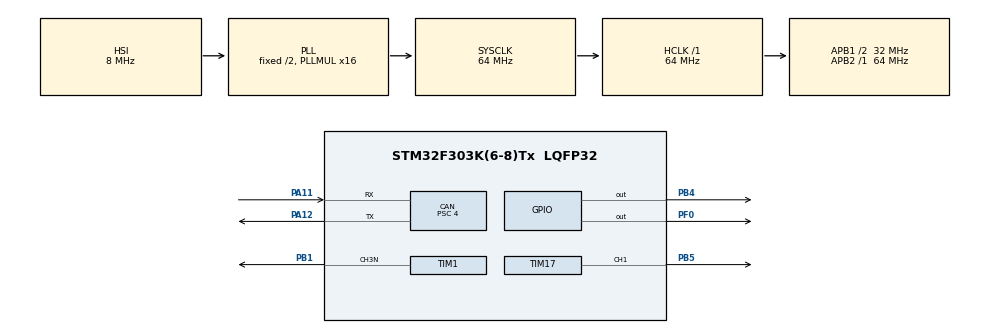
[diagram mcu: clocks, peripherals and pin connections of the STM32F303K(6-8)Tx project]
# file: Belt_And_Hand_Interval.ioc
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CAN.BS1=CAN_BS1_13TQ
CAN.BS2=CAN_BS2_4TQ
CAN.CalculateBaudRate=444444
CAN.CalculateTimeBit=2250.00
CAN.CalculateTimeQuantum=125.0
CAN.Prescaler=4
Mcu.Family=STM32F3
Mcu.Name=STM32F303K(6-8)Tx
Mcu.Package=LQFP32
NVIC.CAN_RX0_IRQn=true\:0\:0\:false\:false\:true\:true\:true
NVIC.PriorityGroup=NVIC_PRIORITYGROUP_4
NVIC.TIM1_TRG_COM_TIM17_IRQn=true\:0\:0\:false\:false\:true\:true\:true
NVIC.TIM2_IRQn=true\:0\:0\:false\:false\:true\:true\:true
PA11.Mode=CAN_Activate
PA11.Signal=CAN_RX
PA12.Mode=CAN_Activate
PA12.Signal=CAN_TX
PB1.Mode=PWM Generation3 CH3N
PB1.Signal=TIM1_CH3N
PB4.Signal=GPIO_Output
PB5.Signal=S_TIM17_CH1
PF0\ /\ OSC_IN.Signal=GPIO_Output
ProjectManager.HeapSize=0x200
ProjectManager.StackSize=0x400
ProjectManager.TargetToolchain=STM32CubeIDE
RCC.AHBFreq_Value=64000000
RCC.APB1CLKDivider=RCC_HCLK_DIV2
RCC.APB1Freq_Value=32000000
RCC.APB1TimFreq_Value=64000000
RCC.APB2Freq_Value=64000000
RCC.APB2TimFreq_Value=64000000
RCC.CortexFreq_Value=64000000
RCC.HCLKFreq_Value=64000000
RCC.HSE_VALUE=8000000
RCC.HSI_VALUE=8000000
RCC.PLLMUL=RCC_PLL_MUL16
RCC.SYSCLKFreq_VALUE=64000000
RCC.SYSCLKSourceVirtual=RCC_SYSCLKSOURCE_PLLCLK
SH.S_TIM17_CH1.0=TIM17_CH1,PWM Generation1 CH1
TIM1.Channel-PWM\ Generation3\ CH3N=TIM_CHANNEL_3
TIM1.Period=999
TIM1.Prescaler=31
TIM17.Channel=TIM_CHANNEL_1
TIM17.Period=999
TIM17.Prescaler=31
TIM2.Period=20
TIM2.Prescaler=6400-1
VP_TIM17_VS_ClockSourceINT.Mode=Enable_Timer
VP_TIM1_VS_ClockSourceINT.Mode=Internal
VP_TIM2_VS_ClockSourceINT.Mode=Internal
board=custom

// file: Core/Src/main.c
/* USER CODE BEGIN Header */
/**
  ******************************************************************************
  * @file           : main.c
  * @brief          : Main program body
  ******************************************************************************
  * @attention
  *
  * <h2><center>&copy; Copyright (c) 2021 STMicroelectronics.
  * All rights reserved.</center></h2>
  *
  * This software component is licensed by ST under BSD 3-Clause license,
  * the "License"; You may not use this file except in compliance with the
  * License. You may obtain a copy of the License at:
  *                        opensource.org/licenses/BSD-3-Clause
  *
  ******************************************************************************
  */
/* USER CODE END Header */
#include "main.h"

CAN_HandleTypeDef hcan;

TIM_HandleTypeDef htim1;
TIM_HandleTypeDef htim2;
TIM_HandleTypeDef htim17;

void SystemClock_Config(void);
static void MX_GPIO_Init(void);
static void MX_CAN_Init(void);
static void MX_TIM1_Init(void);
static void MX_TIM17_Init(void);
static void MX_TIM2_Init(void);

/* USER CODE BEGIN 0 */

CAN_FilterTypeDef filter;
void Filter_Init(){
	filter.FilterIdHigh         = 0;
	filter.FilterIdLow          = 0;
	filter.FilterMaskIdHigh     = 0;
	filter.FilterMaskIdLow      = 0;
	filter.FilterScale          = CAN_FILTERSCALE_32BIT;
	filter.FilterFIFOAssignment = CAN_FILTER_FIFO0;
	filter.FilterBank           = 0;
	filter.FilterMode           = CAN_FILTERMODE_IDMASK;
	filter.SlaveStartFilterBank = 14;
	filter.FilterActivation     = ENABLE;
	HAL_CAN_ConfigFilter(&hcan, &filter);
}

uint32_t id;
uint32_t dlc;
uint8_t data[8];

CAN_TxHeaderTypeDef TxHeader;
uint32_t TxMailbox;
uint8_t TxData[8];

#define CLOSE_SPEED 160
#define ROTATE_SPEED 200

uint8_t switch_data[2]={'T','T'};

int belt_rotate_count=0;
int adjust_speed=1;

void HAL_CAN_RxFifo0MsgPendingCallback(CAN_HandleTypeDef *hcan)
{

	CAN_RxHeaderTypeDef RxHeader;
	uint8_t RxData[8];

    if (HAL_CAN_GetRxMessage(hcan, CAN_RX_FIFO0, &RxHeader, RxData) == HAL_OK)
    {
    	if(RxHeader.StdId==0x552){
			id = (RxHeader.IDE == CAN_ID_STD)? RxHeader.StdId : RxHeader.ExtId;     // ID
			dlc = RxHeader.DLC;                                                     // DLC

			if(RxData[7]=='N'){
				adjust_speed=1;
			}
			else{
				adjust_speed=2;
			}

			if(RxData[3]=='L'){                                                    // Data
				HAL_GPIO_WritePin(GPIOF, GPIO_PIN_0, GPIO_PIN_SET);
				__HAL_TIM_SET_COMPARE(&htim1,TIM_CHANNEL_3, CLOSE_SPEED / adjust_speed);
			}
			else if(RxData[3]=='S'){
				HAL_GPIO_WritePin(GPIOF, GPIO_PIN_0, GPIO_PIN_RESET);
				__HAL_TIM_SET_COMPARE(&htim1,TIM_CHANNEL_3, CLOSE_SPEED / adjust_speed);
			}
			else if(RxData[3]=='N'){
				HAL_GPIO_WritePin(GPIOF, GPIO_PIN_0, GPIO_PIN_RESET);
				__HAL_TIM_SET_COMPARE(&htim1,TIM_CHANNEL_3, 0);
			}

			if(RxData[6]=='T' && switch_data[0]=='T' && switch_data[1]=='T'){
				HAL_GPIO_WritePin(GPIOB, GPIO_PIN_4, GPIO_PIN_RESET);
				belt_rotate_count=6000;
			}

			data[0] = RxData[0];
			data[1] = RxData[1];
			data[2] = RxData[2];
			data[3] = RxData[3];
			data[4] = RxData[4];
			data[5] = RxData[5];
			data[6] = RxData[6];
			data[7] = RxData[7];
    	}

    	if(RxHeader.StdId==0x334){
			id = (RxHeader.IDE == CAN_ID_STD)? RxHeader.StdId : RxHeader.ExtId;     // ID
			dlc = RxHeader.DLC;                                                     // DLC
			if(RxData[0]=='T'){
				switch_data[0]=RxData[0];
			}
			if(RxData[1]=='T'){
				switch_data[1]=RxData[1];
			}

    	}

    }

}

void HAL_TIM_PeriodElapsedCallback(TIM_HandleTypeDef *htim)
{
    if (htim == &htim2){
    	if(belt_rotate_count>0){
			__HAL_TIM_SET_COMPARE(&htim17,TIM_CHANNEL_1,ROTATE_SPEED);
    		belt_rotate_count--;
    	}
    	else{
			__HAL_TIM_SET_COMPARE(&htim17,TIM_CHANNEL_1,0);
    	}
    }
}

/* USER CODE END 0 */

int main(void)
{

  /* MCU Configuration--------------------------------------------------------*/

  /* Reset of all peripherals, Initializes the Flash interface and the Systick. */
  HAL_Init();

  /* Configure the system clock */
  SystemClock_Config();

  /* Initialize all configured peripherals */
  MX_GPIO_Init();
  MX_CAN_Init();
  MX_TIM1_Init();
  MX_TIM17_Init();
  MX_TIM2_Init();
  /* USER CODE BEGIN 2 */

	if(HAL_TIM_PWM_Start(&htim17, TIM_CHANNEL_1)!=HAL_OK){
	  Error_Handler();
	}

	HAL_CAN_Start(&hcan);
	Filter_Init();
	HAL_CAN_ActivateNotification(&hcan, CAN_IT_RX_FIFO0_MSG_PENDING);

	HAL_TIM_Base_Start(&htim1);
	HAL_TIM_PWM_Start(&htim1, TIM_CHANNEL_3);
	TIM_CCxChannelCmd(htim1.Instance, TIM_CHANNEL_3, TIM_CCxN_ENABLE);

	 HAL_TIM_Base_Start_IT(&htim2);
	HAL_GPIO_WritePin(GPIOB, GPIO_PIN_4, GPIO_PIN_RESET);

  /* USER CODE END 2 */

  /* Infinite loop */
  while (1)
  {

  }
}

void SystemClock_Config(void)
{
  RCC_OscInitTypeDef RCC_OscInitStruct = {0};
  RCC_ClkInitTypeDef RCC_ClkInitStruct = {0};
  RCC_PeriphCLKInitTypeDef PeriphClkInit = {0};

  /** Initializes the RCC Oscillators according to the specified parameters
  * in the RCC_OscInitTypeDef structure.
  */
  RCC_OscInitStruct.OscillatorType = RCC_OSCILLATORTYPE_HSI;
  RCC_OscInitStruct.HSIState = RCC_HSI_ON;
  RCC_OscInitStruct.HSICalibrationValue = RCC_HSICALIBRATION_DEFAULT;
  RCC_OscInitStruct.PLL.PLLState = RCC_PLL_ON;
  RCC_OscInitStruct.PLL.PLLSource = RCC_PLLSOURCE_HSI;
  RCC_OscInitStruct.PLL.PLLMUL = RCC_PLL_MUL16;
  if (HAL_RCC_OscConfig(&RCC_OscInitStruct) != HAL_OK)
  {
    Error_Handler();
  }
  /** Initializes the CPU, AHB and APB buses clocks
  */
  RCC_ClkInitStruct.ClockType = RCC_CLOCKTYPE_HCLK|RCC_CLOCKTYPE_SYSCLK
                              |RCC_CLOCKTYPE_PCLK1|RCC_CLOCKTYPE_PCLK2;
  RCC_ClkInitStruct.SYSCLKSource = RCC_SYSCLKSOURCE_PLLCLK;
  RCC_ClkInitStruct.AHBCLKDivider = RCC_SYSCLK_DIV1;
  RCC_ClkInitStruct.APB1CLKDivider = RCC_HCLK_DIV2;
  RCC_ClkInitStruct.APB2CLKDivider = RCC_HCLK_DIV1;

  if (HAL_RCC_ClockConfig(&RCC_ClkInitStruct, FLASH_LATENCY_2) != HAL_OK)
  {
    Error_Handler();
  }
  PeriphClkInit.PeriphClockSelection = RCC_PERIPHCLK_TIM1;
  PeriphClkInit.Tim1ClockSelection = RCC_TIM1CLK_HCLK;
  if (HAL_RCCEx_PeriphCLKConfig(&PeriphClkInit) != HAL_OK)
  {
    Error_Handler();
  }
}

static void MX_CAN_Init(void)
{

  hcan.Instance = CAN;
  hcan.Init.Prescaler = 4;
  hcan.Init.Mode = CAN_MODE_NORMAL;
  hcan.Init.SyncJumpWidth = CAN_SJW_1TQ;
  hcan.Init.TimeSeg1 = CAN_BS1_13TQ;
  hcan.Init.TimeSeg2 = CAN_BS2_4TQ;
  hcan.Init.TimeTriggeredMode = DISABLE;
  hcan.Init.AutoBusOff = DISABLE;
  hcan.Init.AutoWakeUp = DISABLE;
  hcan.Init.AutoRetransmission = DISABLE;
  hcan.Init.ReceiveFifoLocked = DISABLE;
  hcan.Init.TransmitFifoPriority = DISABLE;
  if (HAL_CAN_Init(&hcan) != HAL_OK)
  {
    Error_Handler();
  }

}

static void MX_TIM1_Init(void)
{

  TIM_ClockConfigTypeDef sClockSourceConfig = {0};
  TIM_MasterConfigTypeDef sMasterConfig = {0};
  TIM_OC_InitTypeDef sConfigOC = {0};
  TIM_BreakDeadTimeConfigTypeDef sBreakDeadTimeConfig = {0};

  htim1.Instance = TIM1;
  htim1.Init.Prescaler = 31;
  htim1.Init.CounterMode = TIM_COUNTERMODE_UP;
  htim1.Init.Period = 999;
  htim1.Init.ClockDivision = TIM_CLOCKDIVISION_DIV1;
  htim1.Init.RepetitionCounter = 0;
  htim1.Init.AutoReloadPreload = TIM_AUTORELOAD_PRELOAD_DISABLE;
  if (HAL_TIM_Base_Init(&htim1) != HAL_OK)
  {
    Error_Handler();
  }
  sClockSourceConfig.ClockSource = TIM_CLOCKSOURCE_INTERNAL;
  if (HAL_TIM_ConfigClockSource(&htim1, &sClockSourceConfig) != HAL_OK)
  {
    Error_Handler();
  }
  if (HAL_TIM_PWM_Init(&htim1) != HAL_OK)
  {
    Error_Handler();
  }
  sMasterConfig.MasterOutputTrigger = TIM_TRGO_RESET;
  sMasterConfig.MasterOutputTrigger2 = TIM_TRGO2_RESET;
  sMasterConfig.MasterSlaveMode = TIM_MASTERSLAVEMODE_DISABLE;
  if (HAL_TIMEx_MasterConfigSynchronization(&htim1, &sMasterConfig) != HAL_OK)
  {
    Error_Handler();
  }
  sConfigOC.OCMode = TIM_OCMODE_PWM1;
  sConfigOC.Pulse = 0;
  sConfigOC.OCPolarity = TIM_OCPOLARITY_HIGH;
  sConfigOC.OCNPolarity = TIM_OCNPOLARITY_HIGH;
  sConfigOC.OCFastMode = TIM_OCFAST_DISABLE;
  sConfigOC.OCIdleState = TIM_OCIDLESTATE_RESET;
  sConfigOC.OCNIdleState = TIM_OCNIDLESTATE_RESET;
  if (HAL_TIM_PWM_ConfigChannel(&htim1, &sConfigOC, TIM_CHANNEL_3) != HAL_OK)
  {
    Error_Handler();
  }
  sBreakDeadTimeConfig.OffStateRunMode = TIM_OSSR_DISABLE;
  sBreakDeadTimeConfig.OffStateIDLEMode = TIM_OSSI_DISABLE;
  sBreakDeadTimeConfig.LockLevel = TIM_LOCKLEVEL_OFF;
  sBreakDeadTimeConfig.DeadTime = 0;
  sBreakDeadTimeConfig.BreakState = TIM_BREAK_DISABLE;
  sBreakDeadTimeConfig.BreakPolarity = TIM_BREAKPOLARITY_HIGH;
  sBreakDeadTimeConfig.BreakFilter = 0;
  sBreakDeadTimeConfig.Break2State = TIM_BREAK2_DISABLE;
  sBreakDeadTimeConfig.Break2Polarity = TIM_BREAK2POLARITY_HIGH;
  sBreakDeadTimeConfig.Break2Filter = 0;
  sBreakDeadTimeConfig.AutomaticOutput = TIM_AUTOMATICOUTPUT_DISABLE;
  if (HAL_TIMEx_ConfigBreakDeadTime(&htim1, &sBreakDeadTimeConfig) != HAL_OK)
  {
    Error_Handler();
  }
  HAL_TIM_MspPostInit(&htim1);

}

static void MX_TIM2_Init(void)
{

  TIM_ClockConfigTypeDef sClockSourceConfig = {0};
  TIM_MasterConfigTypeDef sMasterConfig = {0};

  htim2.Instance = TIM2;
  htim2.Init.Prescaler = 6400-1;
  htim2.Init.CounterMode = TIM_COUNTERMODE_UP;
  htim2.Init.Period = 20;
  htim2.Init.ClockDivision = TIM_CLOCKDIVISION_DIV1;
  htim2.Init.AutoReloadPreload = TIM_AUTORELOAD_PRELOAD_DISABLE;
  if (HAL_TIM_Base_Init(&htim2) != HAL_OK)
  {
    Error_Handler();
  }
  sClockSourceConfig.ClockSource = TIM_CLOCKSOURCE_INTERNAL;
  if (HAL_TIM_ConfigClockSource(&htim2, &sClockSourceConfig) != HAL_OK)
  {
    Error_Handler();
  }
  sMasterConfig.MasterOutputTrigger = TIM_TRGO_RESET;
  sMasterConfig.MasterSlaveMode = TIM_MASTERSLAVEMODE_DISABLE;
  if (HAL_TIMEx_MasterConfigSynchronization(&htim2, &sMasterConfig) != HAL_OK)
  {
    Error_Handler();
  }

}

static void MX_TIM17_Init(void)
{

  TIM_OC_InitTypeDef sConfigOC = {0};
  TIM_BreakDeadTimeConfigTypeDef sBreakDeadTimeConfig = {0};

  htim17.Instance = TIM17;
  htim17.Init.Prescaler = 31;
  htim17.Init.CounterMode = TIM_COUNTERMODE_UP;
  htim17.Init.Period = 999;
  htim17.Init.ClockDivision = TIM_CLOCKDIVISION_DIV1;
  htim17.Init.RepetitionCounter = 0;
  htim17.Init.AutoReloadPreload = TIM_AUTORELOAD_PRELOAD_DISABLE;
  if (HAL_TIM_Base_Init(&htim17) != HAL_OK)
  {
    Error_Handler();
  }
  if (HAL_TIM_PWM_Init(&htim17) != HAL_OK)
  {
    Error_Handler();
  }
  sConfigOC.OCMode = TIM_OCMODE_PWM1;
  sConfigOC.Pulse = 0;
  sConfigOC.OCPolarity = TIM_OCPOLARITY_HIGH;
  sConfigOC.OCNPolarity = TIM_OCNPOLARITY_HIGH;
  sConfigOC.OCFastMode = TIM_OCFAST_DISABLE;
  sConfigOC.OCIdleState = TIM_OCIDLESTATE_RESET;
  sConfigOC.OCNIdleState = TIM_OCNIDLESTATE_RESET;
  if (HAL_TIM_PWM_ConfigChannel(&htim17, &sConfigOC, TIM_CHANNEL_1) != HAL_OK)
  {
    Error_Handler();
  }
  sBreakDeadTimeConfig.OffStateRunMode = TIM_OSSR_DISABLE;
  sBreakDeadTimeConfig.OffStateIDLEMode = TIM_OSSI_DISABLE;
  sBreakDeadTimeConfig.LockLevel = TIM_LOCKLEVEL_OFF;
  sBreakDeadTimeConfig.DeadTime = 0;
  sBreakDeadTimeConfig.BreakState = TIM_BREAK_DISABLE;
  sBreakDeadTimeConfig.BreakPolarity = TIM_BREAKPOLARITY_HIGH;
  sBreakDeadTimeConfig.BreakFilter = 0;
  sBreakDeadTimeConfig.AutomaticOutput = TIM_AUTOMATICOUTPUT_DISABLE;
  if (HAL_TIMEx_ConfigBreakDeadTime(&htim17, &sBreakDeadTimeConfig) != HAL_OK)
  {
    Error_Handler();
  }
  HAL_TIM_MspPostInit(&htim17);

}

static void MX_GPIO_Init(void)
{
  GPIO_InitTypeDef GPIO_InitStruct = {0};

  /* GPIO Ports Clock Enable */
  __HAL_RCC_GPIOF_CLK_ENABLE();
  __HAL_RCC_GPIOB_CLK_ENABLE();
  __HAL_RCC_GPIOA_CLK_ENABLE();

  /*Configure GPIO pin Output Level */
  HAL_GPIO_WritePin(GPIOF, GPIO_PIN_0, GPIO_PIN_RESET);

  /*Configure GPIO pin Output Level */
  HAL_GPIO_WritePin(GPIOB, GPIO_PIN_4, GPIO_PIN_RESET);

  /*Configure GPIO pin : PF0 */
  GPIO_InitStruct.Pin = GPIO_PIN_0;
  GPIO_InitStruct.Mode = GPIO_MODE_OUTPUT_PP;
  GPIO_InitStruct.Pull = GPIO_NOPULL;
  GPIO_InitStruct.Speed = GPIO_SPEED_FREQ_LOW;
  HAL_GPIO_Init(GPIOF, &GPIO_InitStruct);

  /*Configure GPIO pin : PB4 */
  GPIO_InitStruct.Pin = GPIO_PIN_4;
  GPIO_InitStruct.Mode = GPIO_MODE_OUTPUT_PP;
  GPIO_InitStruct.Pull = GPIO_NOPULL;
  GPIO_InitStruct.Speed = GPIO_SPEED_FREQ_LOW;
  HAL_GPIO_Init(GPIOB, &GPIO_InitStruct);

}

void Error_Handler(void)
{
  __disable_irq();
  while (1)
  {
  }
}

/************************ (C) COPYRIGHT STMicroelectronics *****END OF FILE****/
